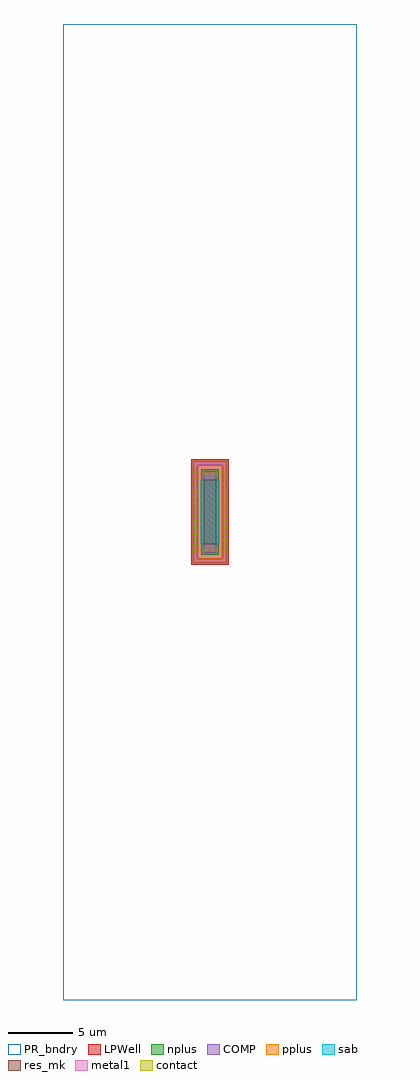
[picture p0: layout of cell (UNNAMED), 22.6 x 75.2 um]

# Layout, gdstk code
import gdstk
lib = gdstk.Library(unit=1e-6, precision=1e-09)
def R(c, l, rs):  # rectangles x0, y0, x1, y1
    for r in rs: c.add(gdstk.rectangle(r[:2], r[2:], *l))
def A(c, l, x, y, w, h, nx, ny, dx, dy):  # array of equal rectangles
    R(c, l, [(x+i*dx, y+j*dy, x+i*dx+w, y+j*dy+h) for i in range(nx) for j in range(ny)])
PR_bndry = (0, 0)
COMP = (22, 0)
pplus = (31, 0)
nplus = (32, 0)
contact = (33, 0)
metal1 = (34, 0)
sab = (49, 0)
res_mk = (110, 5)
LPWell = (204, 0)

c__unnamed_ = lib.new_cell('(UNNAMED)')
R(c__unnamed_, PR_bndry, [(-11.3,-37.6,11.3,37.6)])
R(c__unnamed_, COMP, [(-1.31,-3.94,1.31,-3.58), (-1.31,-3.58,-0.95,3.58), (0.95,-3.58,1.31,3.58), (-0.5,-3.13,0.5,3.13), (-1.31,3.58,1.31,3.94)])
R(c__unnamed_, pplus, [(-1.33,-3.96,1.33,-3.56), (-1.33,-3.56,-0.92,-3.455), (0.92,-3.56,1.33,-3.455), (-1.34,-3.455,-0.92,3.455), (0.92,-3.455,1.34,3.455), (-1.33,3.455,-0.92,3.56), (0.92,3.455,1.33,3.56), (-1.33,3.56,1.33,3.96)])
R(c__unnamed_, nplus, [(-0.68,-3.31,0.68,3.31), (-0.66,-3.29,0.66,3.29)])
A(c__unnamed_, contact, -1.24, -3.165, 0.22, 0.22, 1, 14, 0, 0.47)
A(c__unnamed_, contact, 1.02, -3.165, 0.22, 0.22, 1, 14, 0, 0.47)
R(c__unnamed_, contact, [(-0.345,-3.06,-0.125,-2.84), (0.125,-3.06,0.345,-2.84), (-0.345,2.84,-0.125,3.06), (0.125,2.84,0.345,3.06)])
R(c__unnamed_, metal1, [(-1.245,-3.875,1.245,-3.645), (-1.245,-3.645,-1.015,3.645), (1.015,-3.645,1.245,3.645), (-0.49,-3.065,0.49,-2.835), (-0.49,2.835,0.49,3.065), (-1.245,3.645,1.245,3.875)])
R(c__unnamed_, sab, [(-0.72,-2.5,0.72,2.5)])
R(c__unnamed_, res_mk, [(-0.5,-2.5,0.5,2.5)])
R(c__unnamed_, LPWell, [(-1.43,-4.06,1.43,4.06)])

lib.write_gds('_UNNAMED_.gds')
